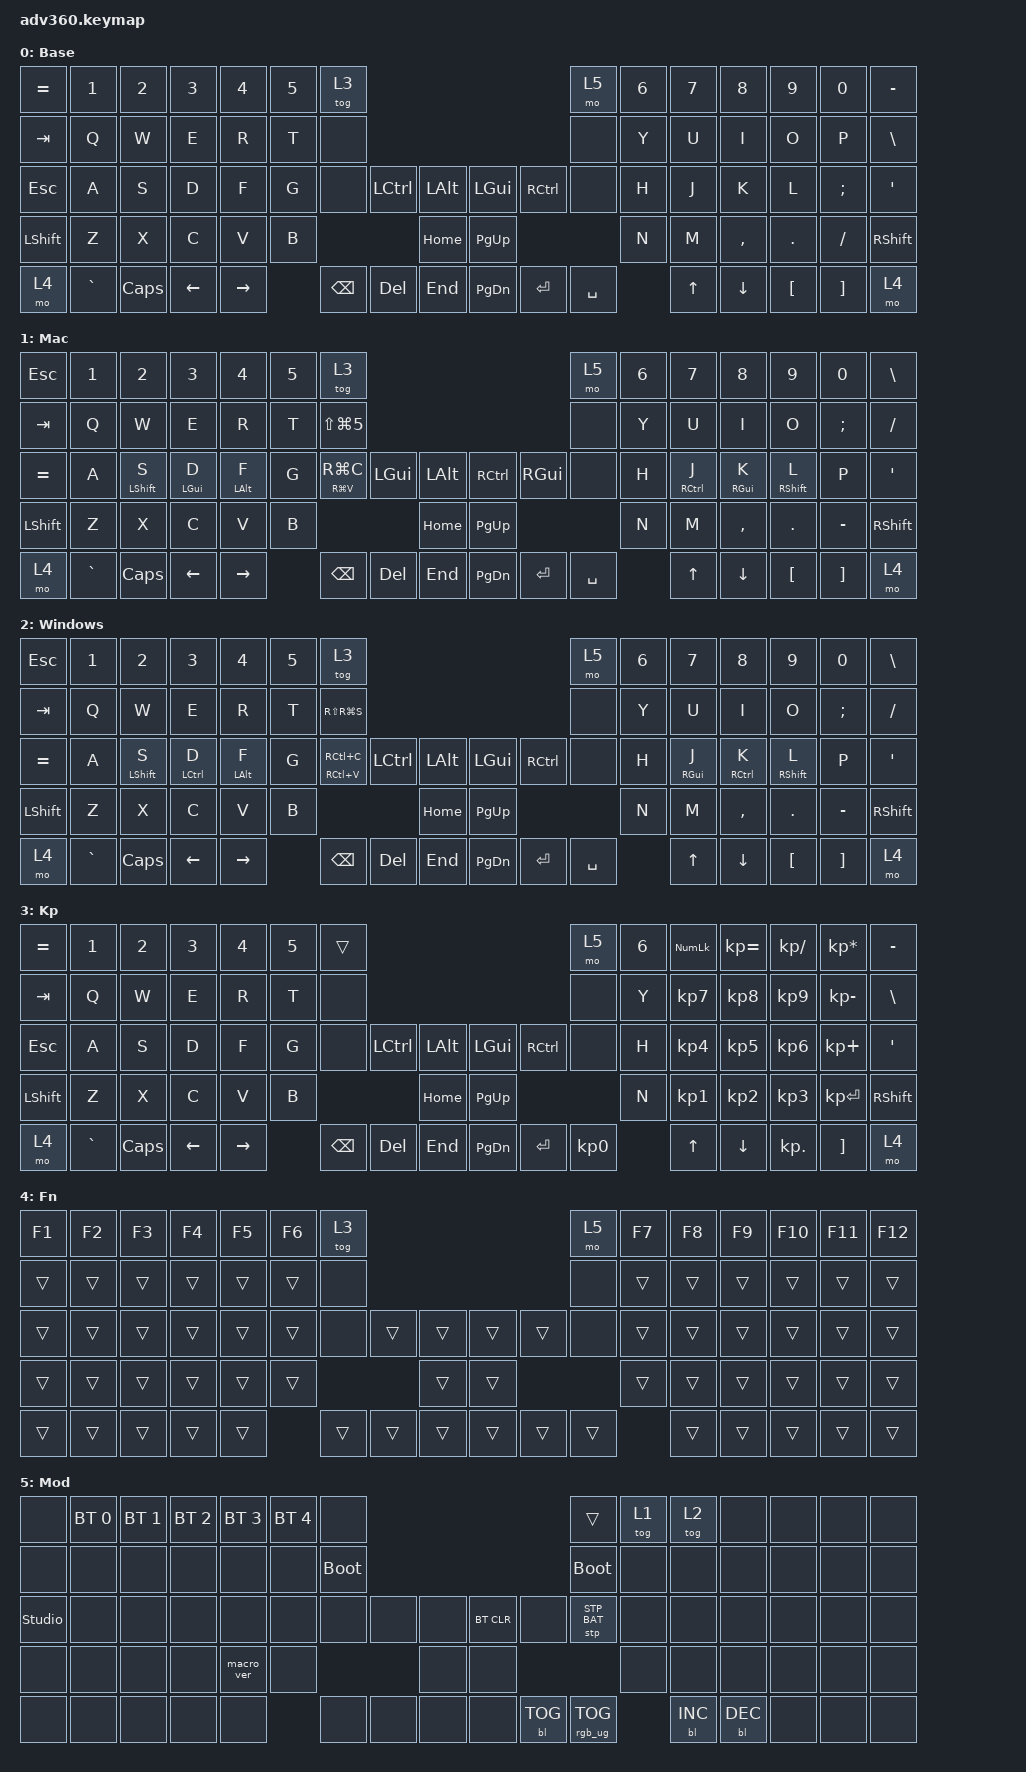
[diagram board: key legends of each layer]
#include <dt-bindings/zmk/stp.h>
#include <behaviors.dtsi>
#include <dt-bindings/zmk/backlight.h>
#include <dt-bindings/zmk/bt.h>
#include <dt-bindings/zmk/keys.h>
#include <dt-bindings/zmk/rgb.h>

/ {
    behaviors {
        #include "macros.dtsi"
      #include "version.dtsi"

        hm: homerow_mods {
            compatible = "zmk,behavior-hold-tap";
            label = "HOMEROW_MODS";
            #binding-cells = <2>;
            tapping-term-ms = <200>;
            quick_tap_ms = <175>;
            flavor = "tap-preferred";
            bindings = <&kp>, <&kp>;
        };

        hml: homerow_mod_left {
            compatible = "zmk,behavior-hold-tap";
            label = "Homerow Mod Left";
            #binding-cells = <2>;
            tapping-term-ms = <200>;
            flavor = "balanced";
            bindings = <&kp>, <&kp>;

            quick-tap-ms = <175>;
            require-prior-idle-ms = <125>;
            hold-trigger-key-positions = <8 9 10 11 12 13 22 23 24 25 26 27 40 41 42 43 44 45 54 55 56 57 58 71 72 73 74>;
            hold-trigger-on-release;
        };

        hmr: homerow_mod_right {
            compatible = "zmk,behavior-hold-tap";
            label = "Homerow Mod Right";
            #binding-cells = <2>;
            tapping-term-ms = <200>;
            flavor = "balanced";
            bindings = <&kp>, <&kp>;

            quick-tap-ms = <175>;
            require-prior-idle-ms = <125>;
            hold-trigger-on-release;
            hold-trigger-key-positions = <0 1 2 3 4 5 0 1 2 3 4 5 14 15 16 17 18 19 28 29 30 31 32 33 47 48 49 50 51 61 62 63 64>;
        };
    };

    keymap {
        compatible = "zmk,keymap";

        default_layer {
            display-name = "Base";
            bindings = <
&kp EQUAL  &kp N1     &kp N2    &kp N3    &kp N4     &kp N5  &tog 3                                                   &mo 5      &kp N6  &kp N7  &kp N8     &kp N9    &kp N0    &kp MINUS
&kp TAB    &kp Q      &kp W     &kp E     &kp R      &kp T   &none                                                    &none      &kp Y   &kp U   &kp I      &kp O     &kp P     &kp BSLH
&kp ESC    &kp A      &kp S     &kp D     &kp F      &kp G   &none     &kp LCTRL  &kp LALT      &kp LGUI   &kp RCTRL  &none      &kp H   &kp J   &kp K      &kp L     &kp SEMI  &kp SQT
&kp LSHFT  &kp Z      &kp X     &kp C     &kp V      &kp B                        &kp HOME      &kp PG_UP                        &kp N   &kp M   &kp COMMA  &kp DOT   &kp FSLH  &kp RSHFT
&mo 4      &kp GRAVE  &kp CAPS  &kp LEFT  &kp RIGHT          &kp BSPC  &kp DEL    &kp END       &kp PG_DN  &kp ENTER  &kp SPACE          &kp UP  &kp DOWN   &kp LBKT  &kp RBKT  &mo 4
            >;
        };

        mac_layer {
            display-name = "Mac";
            bindings = <
&kp ESCAPE  &kp N1     &kp N2             &kp N3          &kp N4          &kp N5  &tog 3                                                                              &mo 5      &kp N6  &kp N7               &kp N8           &kp N9              &kp N0         &kp BSLH
&kp TAB     &kp Q      &kp W              &kp E           &kp R           &kp T   &kp LS(LG(NUMBER_5))                                                                &none      &kp Y   &kp U                &kp I            &kp O               &kp SEMICOLON  &kp FSLH
&kp EQUAL   &kp A      &hml LEFT_SHIFT S  &hm LEFT_GUI D  &hm LEFT_ALT F  &kp G   &hm RG(V) RG(C)       &kp LEFT_GUI  &kp LALT      &kp RIGHT_CONTROL  &kp RIGHT_GUI  &none      &kp H   &hm RIGHT_CONTROL J  &hm RIGHT_GUI K  &hmr RIGHT_SHIFT L  &kp P          &kp SQT
&kp LSHFT   &kp Z      &kp X              &kp C           &kp V           &kp B                                       &kp HOME      &kp PG_UP                                    &kp N   &kp M                &kp COMMA        &kp DOT             &kp MINUS      &kp RSHFT
&mo 4       &kp GRAVE  &kp CAPS           &kp LEFT        &kp RIGHT               &kp BSPC              &kp DEL       &kp END       &kp PG_DN          &kp ENTER      &kp SPACE          &kp UP               &kp DOWN         &kp LBKT            &kp RBKT       &mo 4
            >;
        };

        windows_layer {
            display-name = "Windows";
            bindings = <
&kp ESCAPE  &kp N1     &kp N2             &kp N3              &kp N4          &kp N5  &tog 3                                                          &mo 5      &kp N6  &kp N7           &kp N8               &kp N9              &kp N0         &kp BSLH
&kp TAB     &kp Q      &kp W              &kp E               &kp R           &kp T   &kp RS(RG(S))                                                   &none      &kp Y   &kp U            &kp I                &kp O               &kp SEMICOLON  &kp FSLH
&kp EQUAL   &kp A      &hml LEFT_SHIFT S  &hm LEFT_CONTROL D  &hm LEFT_ALT F  &kp G   &hm RC(V) RC(C)  &kp LCTRL  &kp LALT      &kp LGUI   &kp RCTRL  &none      &kp H   &hm RIGHT_GUI J  &hm RIGHT_CONTROL K  &hmr RIGHT_SHIFT L  &kp P          &kp SQT
&kp LSHFT   &kp Z      &kp X              &kp C               &kp V           &kp B                               &kp HOME      &kp PG_UP                        &kp N   &kp M            &kp COMMA            &kp DOT             &kp MINUS      &kp RSHFT
&mo 4       &kp GRAVE  &kp CAPS           &kp LEFT            &kp RIGHT               &kp BSPC         &kp DEL    &kp END       &kp PG_DN  &kp ENTER  &kp SPACE          &kp UP           &kp DOWN             &kp LBKT            &kp RBKT       &mo 4
            >;
        };

        keypad {
            display-name = "Kp";
            bindings = <
&kp EQUAL  &kp N1     &kp N2    &kp N3    &kp N4     &kp N5  &trans                                                   &mo 5      &kp N6  &kp KP_NUM  &kp KP_EQUAL  &kp KP_DIVIDE  &kp KP_MULTIPLY  &kp MINUS
&kp TAB    &kp Q      &kp W     &kp E     &kp R      &kp T   &none                                                    &none      &kp Y   &kp KP_N7   &kp KP_N8     &kp KP_N9      &kp KP_MINUS     &kp BSLH
&kp ESC    &kp A      &kp S     &kp D     &kp F      &kp G   &none     &kp LCTRL  &kp LALT      &kp LGUI   &kp RCTRL  &none      &kp H   &kp KP_N4   &kp KP_N5     &kp KP_N6      &kp KP_PLUS      &kp SQT
&kp LSHFT  &kp Z      &kp X     &kp C     &kp V      &kp B                        &kp HOME      &kp PG_UP                        &kp N   &kp KP_N1   &kp KP_N2     &kp KP_N3      &kp KP_ENTER     &kp RSHFT
&mo 4      &kp GRAVE  &kp CAPS  &kp LEFT  &kp RIGHT          &kp BSPC  &kp DEL    &kp END       &kp PG_DN  &kp ENTER  &kp KP_N0          &kp UP      &kp DOWN      &kp KP_DOT     &kp RBKT         &mo 4
            >;
        };

        fn {
            display-name = "Fn";
            bindings = <
&kp F1  &kp F2  &kp F3  &kp F4  &kp F5  &kp F6  &tog 3                                      &mo 5   &kp F7  &kp F8  &kp F9  &kp F10  &kp F11  &kp F12
&trans  &trans  &trans  &trans  &trans  &trans  &none                                       &none   &trans  &trans  &trans  &trans   &trans   &trans
&trans  &trans  &trans  &trans  &trans  &trans  &none   &trans  &trans      &trans  &trans  &none   &trans  &trans  &trans  &trans   &trans   &trans
&trans  &trans  &trans  &trans  &trans  &trans                  &trans      &trans                  &trans  &trans  &trans  &trans   &trans   &trans
&trans  &trans  &trans  &trans  &trans          &trans  &trans  &trans      &trans  &trans  &trans          &trans  &trans  &trans   &trans   &trans
            >;
        };

        mod {
            display-name = "Mod";
            bindings = <
&none           &bt BT_SEL 0  &bt BT_SEL 1  &bt BT_SEL 2  &bt BT_SEL 3  &bt BT_SEL 4  &none                                                  &trans           &tog 1  &tog 2      &none       &none  &none  &none
&none           &none         &none         &none         &none         &none         &bootloader                                            &bootloader      &none   &none       &none       &none  &none  &none
&studio_unlock  &none         &none         &none         &none         &none         &none        &none  &none      &bt BT_CLR  &none       &stp STP_BAT     &none   &none       &none       &none  &none  &none
&none           &none         &none         &none         &macro_ver    &none                             &none      &none                                    &none   &none       &none       &none  &none  &none
&none           &none         &none         &none         &none                       &none        &none  &none      &none       &bl BL_TOG  &rgb_ug RGB_TOG          &bl BL_INC  &bl BL_DEC  &none  &none  &none
            >;
        };

        extra1 {
            display-name = "Red";
            status = "reserved";
        };

        extra2 {
            display-name = "Purple";
            status = "reserved";
        };

        extra3 {
            display-name = "Cyan";
            status = "reserved";
        };

        extra4 {
            display-name = "Yellow";
            status = "reserved";
        };
    };
};
